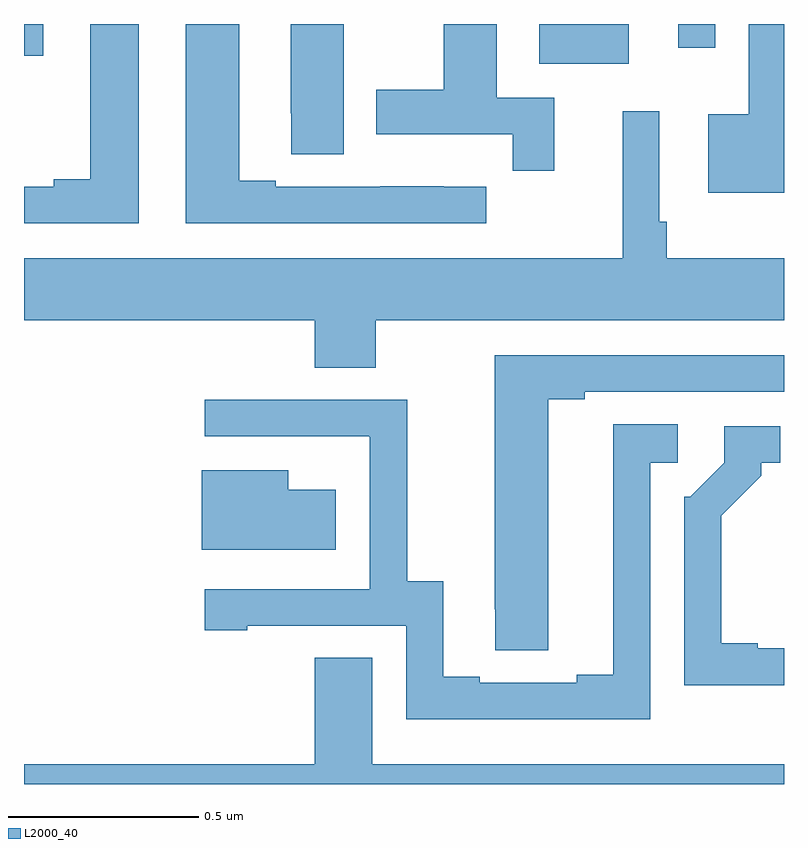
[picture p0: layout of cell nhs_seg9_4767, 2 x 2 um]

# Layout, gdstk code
import gdstk
lib = gdstk.Library(unit=1e-6, precision=1e-09)
def R(c, l, rs):  # rectangles x0, y0, x1, y1
    for r in rs: c.add(gdstk.rectangle(r[:2], r[2:], *l))
def P(c, l, *ps):  # polygons
    for p in ps: c.add(gdstk.Polygon(p, *l))
L2000_40 = (2000, 40)

nhs_seg9_4767 = lib.new_cell('nhs_seg9_4767')
R(nhs_seg9_4767, L2000_40, [(171.356,1230.395,171.592,1230.5), (170,1230.416,170.05,1230.5), (171.722,1230.438,171.819,1230.5)])
P(nhs_seg9_4767, L2000_40, [(172,1230.5),(171.907,1230.5),(171.907,1230.262),(171.8,1230.262),(171.8,1230.056),(172,1230.056)],
  [(170.302,1230.5),(170.174,1230.5),(170.174,1230.092),(170.078,1230.092),(170.078,1230.072),(170,1230.072),(170,1229.976),(170.302,1229.976)],
  [(171.395,1230.306),(171.244,1230.306),(171.244,1230.5),(171.104,1230.5),(171.104,1230.327),(170.927,1230.327),(170.927,1230.21),(171.286,1230.21),(171.286,1230.114),(171.395,1230.114)],
  [(171.217,1230.072),(171.104,1230.072),(171.104,1230.073),(170.938,1230.073),(170.938,1230.072),(170.662,1230.072),(170.662,1230.087),(170.566,1230.087),(170.566,1230.5),(170.426,1230.5),(170.426,1229.976),(171.217,1229.976)],
  [(170.842,1230.5),(170.702,1230.5),(170.702,1230.265),(170.703,1230.265),(170.703,1230.157),(170.842,1230.157)],
  [(170.925,1229.72),(172,1229.72),(172,1229.884),(171.692,1229.884),(171.692,1229.98),(171.672,1229.98),(171.672,1230.271),(171.575,1230.271),(171.575,1229.884),(170,1229.884),(170,1229.72),(170.765,1229.72),(170.765,1229.596),(170.925,1229.596)],
  [(171.379,1229.512),(171.475,1229.512),(171.475,1229.532),(172,1229.532),(172,1229.628),(171.239,1229.628),(171.239,1228.96),(171.24,1228.96),(171.24,1228.852),(171.379,1228.852)],
  [(171.648,1229.346),(171.721,1229.346),(171.721,1229.447),(171.551,1229.447),(171.551,1228.787),(171.455,1228.787),(171.455,1228.767),(171.199,1228.767),(171.199,1228.782),(171.103,1228.782),(171.103,1229.033),(171.009,1229.033),(171.009,1229.511),(170.475,1229.511),(170.475,1229.415),(170.909,1229.415),(170.909,1229.414),(170.91,1229.414),(170.91,1229.013),(170.475,1229.013),(170.475,1228.905),(170.587,1228.905),(170.587,1228.917),(171.006,1228.917),(171.006,1228.671),(171.648,1228.671)],
  [(172,1228.857),(171.931,1228.857),(171.931,1228.87),(171.835,1228.87),(171.835,1229.206),(171.94,1229.311),(171.94,1229.346),(171.99,1229.346),(171.99,1229.442),(171.843,1229.442),(171.843,1229.346),(171.753,1229.256),(171.738,1229.256),(171.738,1228.76),(172,1228.76)],
  [(170.821,1229.275),(170.695,1229.275),(170.695,1229.326),(170.468,1229.326),(170.468,1229.117),(170.821,1229.117)],
  [(172,1228.552),(170.917,1228.552),(170.917,1228.832),(170.765,1228.832),(170.765,1228.552),(170,1228.552),(170,1228.5),(172,1228.5)])

lib.write_gds('nhs_seg9_4767.gds')
